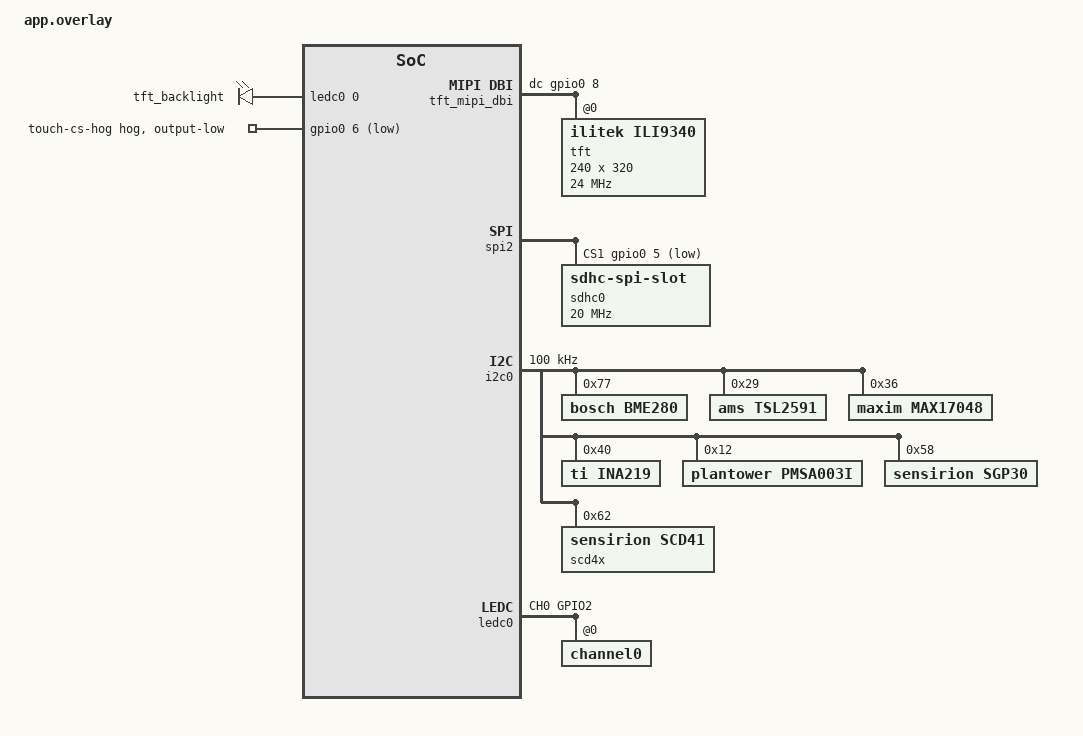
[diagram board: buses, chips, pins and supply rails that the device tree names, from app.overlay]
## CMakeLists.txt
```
# SPDX-License-Identifier: MIT
cmake_minimum_required(VERSION 3.20.0)

# This repo ships its own board (boards/adafruit/feather_esp32c6). Zephyr only
# looks under directories on BOARD_ROOT, and it does not add the application
# dir automatically — so register it here, before find_package(Zephyr).
list(APPEND BOARD_ROOT ${CMAKE_CURRENT_SOURCE_DIR})

find_package(Zephyr REQUIRED HINTS $ENV{ZEPHYR_BASE})
project(sensor_box LANGUAGES C)

target_sources(app PRIVATE src/main.c src/ui.c src/backlight.c src/history.c src/baseline.c src/wifi.c src/timesync.c src/ltlog.c src/web.c src/light.c src/sdcard.c src/sdlog.c)

# The dashboard page, gzipped into a C array that src/web.c includes.
set(gen_dir ${ZEPHYR_BINARY_DIR}/include/generated/)
generate_inc_file_for_target(app web/index.html ${gen_dir}/index.html.gz.inc --gzip)
zephyr_linker_sources(SECTIONS web/sections-rom.ld)
```

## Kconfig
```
# Application Kconfig for sensor-box. Zephyr picks up "Kconfig" from the
# application directory automatically; it must source Kconfig.zephyr.

mainmenu "sensor-box"

config SENSOR_BOX_ALTITUDE_M
	int "Altitude of the box above sea level, in metres"
	default 0
	help
	  Used to convert the BME280's absolute (station) pressure to the
	  sea-level pressure that weather reports use. At 0, the two are the
	  same. Near sea level, each 10 m adds roughly 1.2 hPa.

config SENSOR_BOX_US_UNITS
	bool "Show US units on the display"
	help
	  Show temperature in degrees F and pressure in inches of mercury on
	  the TFT. Readings are kept, and logged, in metric either way.

config SENSOR_BOX_NTP_SERVER
	string "SNTP server"
	default "pool.ntp.org"
	help
	  Time server queried once the network is up, then every 6 hours.
	  An address with an optional :port, or a DNS name.

config SENSOR_BOX_UTC_OFFSET_MIN
	int "Local standard time offset from UTC, in minutes"
	default 0
	range -720 840
	help
	  For the on-screen clock. Pacific Standard Time is -480.

config SENSOR_BOX_US_DST
	bool "Apply US daylight saving time to the on-screen clock"
	help
	  Add an hour from 2:00 on the second Sunday in March until 2:00 on
	  the first Sunday in November (local time), as in most of the US.

source "Kconfig.zephyr"
```

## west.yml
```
# West manifest for the sensor-box application (T3 "freestanding app" layout).
#
# This repo is the manifest repo. `west update` pulls Zephyr — and, via
# import, the modules on the allowlist below — as sibling directories outside
# this repo. Bump `revision` deliberately to move to a new Zephyr release;
# module versions follow from Zephyr's own manifest.
#
#   west init -l .
#   west update
#
manifest:
  version: "1.2"

  remotes:
    - name: upstream
      url-base: https://github.com/zephyrproject-rtos

  projects:
    - name: zephyr
      remote: upstream
      revision: v4.4.0
      # Pull in only the Zephyr modules this app needs. (Anything else in
      # Zephyr's manifest, e.g. mcuboot, is not fetched.)
      import:
        name-allowlist:
          - fatfs                 # FAT filesystem for the microSD card
          - hal_espressif         # ESP32-C6 SoC HAL + Wi-Fi blobs
          - lvgl                  # TFT UI
          - mbedtls               # crypto for Wi-Fi (WPA2), selected by the ESP32 Wi-Fi driver
          - picolibc              # C library
          - tf-psa-crypto         # PSA crypto core used by mbedtls

  self:
    path: sensor-box
```

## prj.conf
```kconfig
# Application Kconfig — merged on top of the board's *_defconfig.

# Logging subsystem (LOG_INF / LOG_WRN / LOG_ERR), routed to the console.
CONFIG_LOG=y
# Only warnings and errors are shown by default. Info messages are still
# built in: turn them on from the shell, e.g. "log enable inf wifi" (one
# module) or "log enable inf" (all); "log status" lists modules and levels.
CONFIG_SHELL_BACKEND_SERIAL_LOG_LEVEL_WRN=y
CONFIG_LOG_RUNTIME_DEFAULT_LEVEL=2
CONFIG_LOG_CMDS=y

# Print floating-point values with %f (sensor readings later).
CONFIG_CBPRINTF_FP_SUPPORT=y

# Main thread stack — sensors plus building the LVGL screen.
CONFIG_MAIN_STACK_SIZE=6144

# I2C bus + sensor subsystem + drivers.
CONFIG_I2C=y
CONFIG_SENSOR=y
CONFIG_BME280=y
CONFIG_TSL2591=y

# Out-of-tree drivers (drivers/sensor/*).
CONFIG_PMSA003I=y
CONFIG_SGP30=y

# Fuel-gauge subsystem + the on-board MAX17048.
CONFIG_FUEL_GAUGE=y
CONFIG_MAX17048=y
# INA219 (battery current) is enabled by its devicetree node.

# Fixed regulator driver — powers the STEMMA QT / I2C switch (IO20).
CONFIG_REGULATOR=y
CONFIG_REGULATOR_FIXED=y

# Interactive shell on the console, with I2C and sensor subcommands.
CONFIG_SHELL=y
CONFIG_I2C_SHELL=y
CONFIG_SENSOR_SHELL=y
# "kernel reboot cold" on the shell.
CONFIG_REBOOT=y

# Display: ILI9341 on SPI via the MIPI-DBI layer (see app.overlay).
CONFIG_SPI=y
CONFIG_DISPLAY=y

# Backlight PWM (LEDC), hand-wired LITE -> A5 / IO2.
CONFIG_PWM=y

# Boot button (gpio-keys, IO9) pages through the chart screens.
CONFIG_INPUT=y
# The button handler updates a chart page (LVGL + float formatting) on the
# input thread: ~1.3 KB measured, over the 1 KB default.
CONFIG_INPUT_THREAD_STACK_SIZE=4096

# LVGL, run on its own workqueue so the 1 Hz sensor loop never stalls the UI.
# Calls into LVGL from other threads must hold lvgl_lock().
CONFIG_LVGL=y
CONFIG_LV_Z_RUN_LVGL_ON_WORKQUEUE=y
# Rendering the trend charts needs ~5.4 KB, overflowing the 4 KB default
# (which silently corrupted the neighbouring input thread's stack).
CONFIG_LV_Z_LVGL_WORKQUEUE_STACK_SIZE=8192
CONFIG_LV_COLOR_DEPTH_24=y
CONFIG_LV_Z_MEM_POOL_SIZE=49152
CONFIG_LV_FONT_MONTSERRAT_12=y
CONFIG_LV_FONT_MONTSERRAT_14=y
CONFIG_LV_FONT_MONTSERRAT_28=y

# Settings in the flash "storage" partition (NVS): the SGP30 baseline.
CONFIG_FLASH=y
CONFIG_FLASH_MAP=y
CONFIG_NVS=y
CONFIG_SETTINGS=y
CONFIG_SETTINGS_NVS=y

# microSD card in the FeatherWing's slot (src/sdcard.c), FAT formatted.
# Never format a card automatically when it won't mount (Zephyr's default
# would): only "sdcard format yes" from the console does.
CONFIG_DISK_ACCESS=y
CONFIG_FILE_SYSTEM=y
CONFIG_FAT_FILESYSTEM_ELM=y
CONFIG_FILE_SYSTEM_MKFS=y
CONFIG_FS_FATFS_MOUNT_MKFS=n
# Bring the card up before the display's first SPI traffic (display init
# is at 85): a card that sees other traffic on the bus before its first
# reset can end up in SD (not SPI) mode until it loses power. See
# sdcard_early_init() in src/sdcard.c.
CONFIG_SDHC_INIT_PRIORITY=81
CONFIG_SD_INIT_PRIORITY=82
# "fs ls /SD:" etc. on the console.
CONFIG_FILE_SYSTEM_SHELL=y

# Long-term hourly history: a flash circular buffer in the "history"
# partition (app.overlay); see src/ltlog.c.
CONFIG_FCB=y

# Wi-Fi station with DHCP. Credentials are stored on the device (settings),
# added from the console with "wifi cred add"; see src/wifi.c.
CONFIG_NETWORKING=y
CONFIG_WIFI=y
CONFIG_NET_IPV4=y
# IPv6 (link-local, plus SLAAC if the router offers it) mostly so mDNS can
# answer AAAA queries: without it the responder ignores them, and macOS waits
# 5 s for an answer on every lookup of sensor-box.local. The HTTP server then
# listens on IPv6 and takes IPv4 connections as v4-mapped addresses.
CONFIG_NET_IPV6=y
CONFIG_NET_IPV4_MAPPING_TO_IPV6=y
CONFIG_NET_DHCPV4=y
CONFIG_NET_TCP=y
CONFIG_NET_MGMT=y
CONFIG_NET_MGMT_EVENT=y
CONFIG_NET_MGMT_EVENT_INFO=y
CONFIG_WIFI_CREDENTIALS=y
CONFIG_NET_L2_WIFI_SHELL=y
CONFIG_NET_SHELL=y

# Wall-clock time from SNTP (UTC), using DHCP's DNS server; "date get" on
# the shell shows it. See src/timesync.c.
CONFIG_NET_SOCKETS=y
CONFIG_DNS_RESOLVER=y
CONFIG_SNTP=y
CONFIG_DATE_SHELL=y

# LAN web dashboard on port 80 (src/web.c), reachable as sensor-box.local.
CONFIG_HTTP_SERVER=y
CONFIG_HTTP_SERVER_STACK_SIZE=4096
CONFIG_HTTP_SERVER_MAX_CLIENTS=4
CONFIG_NET_MAX_CONTEXTS=12
CONFIG_NET_MAX_CONN=10
CONFIG_ZVFS_OPEN_MAX=16
CONFIG_ZVFS_POLL_MAX=12
# The socket service (DNS/mDNS) already takes the default single eventfd;
# the HTTP server needs its own (it failed with eventfd -ENOMEM).
CONFIG_ZVFS_EVENTFD_MAX=4
# The socket service thread (DNS, mDNS) measured 85% of its 1.4 KB default.
CONFIG_NET_SOCKETS_SERVICE_STACK_SIZE=2048
CONFIG_MDNS_RESPONDER=y
CONFIG_NET_HOSTNAME_ENABLE=y
CONFIG_NET_HOSTNAME="sensor-box"
# Wi-Fi and credential shell commands need more than the 2 KB default; the
# system workqueue runs the stored-network connect.
CONFIG_SHELL_STACK_SIZE=4096
CONFIG_SYSTEM_WORKQUEUE_STACK_SIZE=3072
# ISR stack doubled to 4 KB as margin. With the dashboard build it measured
# ~1 KB; some earlier Wi-Fi builds read ~100% at any size (2, 4 and 8 KB),
# apparently because start-up overwrote the region, not real use.
CONFIG_ISR_STACK_SIZE=4096
# With two access points for the same network, join the strongest rather
# than the first one found.
CONFIG_ESP32_WIFI_STA_SCAN_ALL=y

# On-screen clock: US Pacific (UTC-8, with US daylight saving time).
CONFIG_SENSOR_BOX_UTC_OFFSET_MIN=-480
CONFIG_SENSOR_BOX_US_DST=y

# Altitude for sea-level pressure (house is ~100-110 m).
CONFIG_SENSOR_BOX_ALTITUDE_M=100

# Display temperature in F and pressure in inHg (log stays metric).
CONFIG_SENSOR_BOX_US_UNITS=y
```

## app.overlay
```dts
/*
 * Application devicetree overlay — devices on the STEMMA QT / Feather I2C bus.
 *
 * Zephyr picks up "app.overlay" from the application directory automatically
 * and merges it on top of the board devicetree. The board already sets i2c0
 * to "okay" with its pinctrl; here we just declare what's plugged into it.
 */

#include <zephyr/dt-bindings/i2c/i2c.h>
#include <zephyr/dt-bindings/gpio/gpio.h>
#include <zephyr/dt-bindings/display/panel.h>
#include <zephyr/dt-bindings/pwm/pwm.h>
#include <zephyr/dt-bindings/pinctrl/esp32c6-pinctrl.h>

/ {
	chosen {
		zephyr,display = &tft;
	};

	/*
	 * Adafruit 2.4" TFT FeatherWing: ILI9341 on SPI, with a GPIO
	 * data/command line. Wiring is documented in the board DTS.
	 */
	tft_mipi_dbi: tft-mipi-dbi {
		compatible = "zephyr,mipi-dbi-spi";
		spi-dev = <&spi2>;
		dc-gpios = <&gpio0 8 GPIO_ACTIVE_HIGH>;	/* D10 */
		write-only;
		#address-cells = <1>;
		#size-cells = <0>;

		/*
		 * The panel is an ILI9341, but driven as an ILI9340 (same
		 * controller family). The ili9340 orientation table matches
		 * Adafruit's library and Zephyr's in-tree Adafruit TFT shield;
		 * the ili9341 one sets MADCTL differently (e.g. MV|MY at 90).
		 * 270 = MADCTL MV|MX|MY, which is the right way up with the
		 * FeatherWing as mounted in the box.
		 */
		tft: ili9340@0 {
			compatible = "ilitek,ili9340";
			reg = <0>;
			mipi-max-frequency = <24000000>;
			/*
			 * Native (portrait) panel size. The driver swaps these
			 * itself for 90/270, giving a 320x240 landscape screen.
			 */
			width = <240>;
			height = <320>;
			rotation = <270>;
			/*
			 * RGB888 rather than RGB565: LVGL 9 renders RGB565
			 * little-endian and nothing in the Zephyr display path
			 * byte-swaps it for the panel, so 565 colours come out
			 * garbled. Same choice as Zephyr's Adafruit TFT shield.
			 */
			pixel-format = <PANEL_PIXEL_FORMAT_RGB_888>;
		};
	};
};

&spi2 {
	cs-gpios = <&gpio0 7 GPIO_ACTIVE_LOW>,	/* D9: TFT_CS (the display, CS 0) */
		   <&gpio0 5 GPIO_ACTIVE_LOW>;	/* D5: SD_CS */

	/*
	 * The FeatherWing's microSD slot (src/sdcard.c). The SD driver locks
	 * the bus for each command, so it and the display take turns.
	 */
	sdhc0: sdhc@1 {
		compatible = "zephyr,sdhc-spi-slot";
		reg = <1>;
		status = "okay";
		spi-max-frequency = <20000000>;

		mmc {
			compatible = "zephyr,sdmmc-disk";
			disk-name = "SD";
			status = "okay";
		};
	};
};

&gpio0 {
	/*
	 * The FeatherWing's STMPE610 touch controller shares the SPI bus but
	 * is unused. Hold its chip-select inactive (high) so it never drives
	 * MISO.
	 */
	touch-cs-hog {
		gpio-hog;
		gpios = <6 GPIO_ACTIVE_LOW>;	/* D6: TOUCH_CS */
		output-low;
	};
};

&i2c0 {
	/*
	 * Drop from the board default (Fast, 400 kHz) to Standard (100 kHz).
	 * Four devices daisy-chained on STEMMA QT cables add enough bus
	 * capacitance to cause intermittent -EFAULT at 400 kHz.
	 */
	clock-frequency = <I2C_BITRATE_STANDARD>;

	/* Adafruit BME280 breakout, default (secondary) address. */
	bme280: bme280@77 {
		compatible = "bosch,bme280";
		reg = <0x77>;
	};

	/* Adafruit TSL2591 high-dynamic-range light sensor. */
	tsl2591: tsl2591@29 {
		compatible = "ams,tsl2591";
		reg = <0x29>;
	};

	/* On-board MAX17048 LiPo fuel gauge (fuel-gauge API, not sensor API). */
	max17048: max17048@36 {
		compatible = "maxim,max17048";
		reg = <0x36>;
	};

	/*
	 * Adafruit INA219 current sensor, inline in the battery lead (JST
	 * plugs both sides), so it measures the battery current: positive
	 * into the battery (charging), negative out of it. 0.1 ohm shunt;
	 * +-160 mV range = +-1.6 A, in 50 uA steps. The shunt reading averages
	 * 128 samples (68 ms) to smooth out Wi-Fi bursts.
	 */
	ina219: ina219@40 {
		compatible = "ti,ina219";
		reg = <0x40>;
		shunt-milliohm = <100>;
		lsb-microamp = <50>;
		brng = <0>;	/* 16 V bus range: it's a 1-cell LiPo */
		pg = <2>;	/* +-160 mV */
		sadc = <15>;	/* 12 bit, 128 samples */
	};

	/* Adafruit PMSA003I particulate matter sensor (out-of-tree driver). */
	pmsa003i: pmsa003i@12 {
		compatible = "plantower,pmsa003i";
		reg = <0x12>;
	};

	/* Adafruit SGP30 eCO2 / TVOC sensor (out-of-tree driver). */
	sgp30: sgp30@58 {
		compatible = "sensirion,sgp30";
		reg = <0x58>;
	};

	/*
	 * Adafruit SCD-43 true (NDIR photoacoustic) CO2 sensor. Zephyr's scd4x
	 * driver knows the SCD40 and SCD41; the SCD43 shares the SCD41's command
	 * set, so it's declared as one. Until it's plugged in, its driver fails
	 * to initialise at boot (one error in the log) and the CO2 tile says
	 * "no sensor".
	 */
	scd4x: scd4x@62 {
		compatible = "sensirion,scd41";
		reg = <0x62>;
		mode = <0>;	/* periodic, a measurement every 5 s */
	};
};

/*
 * TFT backlight. The FeatherWing's LITE pad is not connected to any header
 * pin from the factory; in this box it is hand-wired to Feather A5 (IO2).
 * LITE high = backlight on, low = off, and it accepts PWM for dimming.
 * Driven by LEDC channel 0.
 */
&pinctrl {
	ledc0_backlight: ledc0_backlight {
		group1 {
			pinmux = <LEDC_CH0_GPIO2>;
			output-enable;
		};
	};
};

&ledc0 {
	pinctrl-0 = <&ledc0_backlight>;
	pinctrl-names = "default";
	status = "okay";
	#address-cells = <1>;
	#size-cells = <0>;

	channel0@0 {
		reg = <0x0>;
		timer = <0>;
	};
};

/ {
	backlight {
		compatible = "pwm-leds";

		/* 5 kHz: well above visible flicker. */
		tft_backlight: tft-backlight {
			pwms = <&ledc0 0 PWM_USEC(200) PWM_POLARITY_NORMAL>;
		};
	};
};

/*
 * Split the 192 KB "storage" partition: the settings store (NVS: SGP30
 * baseline, Wi-Fi credentials) keeps the first 64 KB, of which it uses the
 * first 32 KB, so its data is untouched; the hourly long-term history
 * (src/ltlog.c) gets the remaining 128 KB, about 4.3 months of records.
 * Flashing the firmware touches neither.
 */
&storage_partition {
	reg = <0x3b0000 DT_SIZE_K(64)>;
};

&flash0 {
	partitions {
		history_partition: partition@3c0000 {
			label = "history";
			reg = <0x3c0000 DT_SIZE_K(128)>;
		};
	};
};
```

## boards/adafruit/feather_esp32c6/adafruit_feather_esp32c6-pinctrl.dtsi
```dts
/*
 * Copyright (c) 2026 Tim Boldt
 *
 * SPDX-License-Identifier: Apache-2.0
 *
 * Pin assignments taken from the Adafruit ESP32-C6 Feather pinout:
 *   https://learn.adafruit.com/adafruit-esp32-c6-feather/pinouts
 *
 *   STEMMA QT / I2C : SDA = IO19, SCL = IO18
 *   SPI header      : SCK = IO21, MOSI = IO22, MISO = IO23
 *   UART header     : TX  = IO16, RX   = IO17
 *
 * The ESP32-C6 routes every peripheral through the GPIO matrix, so these
 * SIGxx_GPIOyy macros just pick which pad each signal lands on.
 */

#include <zephyr/dt-bindings/pinctrl/esp-pinctrl-common.h>
#include <zephyr/dt-bindings/pinctrl/esp32c6-pinctrl.h>
#include <zephyr/dt-bindings/pinctrl/esp32c6-gpio-sigmap.h>

&pinctrl {
	uart1_default: uart1_default {
		group1 {
			pinmux = <UART1_TX_GPIO16>;
			output-high;
		};
		group2 {
			pinmux = <UART1_RX_GPIO17>;
			bias-pull-up;
		};
	};

	i2c0_default: i2c0_default {
		group1 {
			pinmux = <I2C0_SDA_GPIO19>,
				 <I2C0_SCL_GPIO18>;
			bias-pull-up;
			drive-open-drain;
			output-high;
		};
	};

	/*
	 * Chip-select is not muxed here: the TFT FeatherWing and the microSD
	 * slot each need their own GPIO CS (and the TFT a DC line), so the SPI
	 * controller node uses cs-gpios instead of a hardware CS pad.
	 */
	spim2_default: spim2_default {
		group1 {
			pinmux = <SPIM2_MISO_GPIO23>,
				 <SPIM2_SCLK_GPIO21>;
		};
		group2 {
			pinmux = <SPIM2_MOSI_GPIO22>;
			output-low;
		};
	};
};
```

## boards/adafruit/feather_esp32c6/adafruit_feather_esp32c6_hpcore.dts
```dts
/*
 * Copyright (c) 2026 Tim Boldt
 *
 * SPDX-License-Identifier: Apache-2.0
 */

/dts-v1/;

#include <espressif/esp32c6/esp32c6_wroom_n4.dtsi>
#include "adafruit_feather_esp32c6-pinctrl.dtsi"
#include "feather_connector.dtsi"
#include <zephyr/dt-bindings/input/input-event-codes.h>
#include <espressif/partitions_0x0_default.dtsi>

/ {
	model = "Adafruit Feather ESP32-C6 HP Core";
	compatible = "adafruit,feather-esp32c6", "espressif,esp32c6";

	chosen {
		zephyr,sram = &sramhp;
		/* Native USB-Serial/JTAG carries the console (plain USB-C cable). */
		zephyr,console = &usb_serial;
		zephyr,shell-uart = &usb_serial;
		zephyr,flash = &flash0;
		zephyr,code-partition = &slot0_partition;
		zephyr,ieee802154 = &ieee802154;
	};

	aliases {
		sw0 = &boot_button;
		led0 = &red_led;
		i2c-0 = &i2c0;
		watchdog0 = &wdt0;
	};

	leds {
		compatible = "gpio-leds";

		red_led: led_0 {
			gpios = <&gpio0 15 GPIO_ACTIVE_HIGH>;
			label = "Red LED (IO15)";
		};
	};

	gpio_keys {
		compatible = "gpio-keys";

		boot_button: button_0 {
			gpios = <&gpio0 9 (GPIO_PULL_UP | GPIO_ACTIVE_LOW)>;
			label = "BOOT / User button (IO9)";
			zephyr,code = <INPUT_KEY_0>;
		};
	};

	/*
	 * IO20 must be driven high to power the STEMMA QT connector and the
	 * on-board 5k SDA/SCL pull-ups (it also powers the NeoPixel). A fixed
	 * regulator with regulator-boot-on turns it on during init, before the
	 * I2C sensor drivers probe.
	 */
	i2c_pwr: regulator-i2c-pwr {
		compatible = "regulator-fixed";
		regulator-name = "i2c_pwr";
		enable-gpios = <&gpio0 20 GPIO_ACTIVE_HIGH>;
		regulator-boot-on;
		regulator-always-on;
	};
};

&usb_serial {
	status = "okay";
};

/* Feather header UART (TX=IO16 / RX=IO17). Not the console. */
&uart1 {
	status = "okay";
	current-speed = <115200>;
	pinctrl-0 = <&uart1_default>;
	pinctrl-names = "default";
};

&i2c0 {
	status = "okay";
	clock-frequency = <I2C_BITRATE_FAST>;
	pinctrl-0 = <&i2c0_default>;
	pinctrl-names = "default";
};

&spi2 {
	#address-cells = <1>;
	#size-cells = <0>;
	status = "okay";
	pinctrl-0 = <&spim2_default>;
	pinctrl-names = "default";
	/*
	 * The 2.4" TFT FeatherWing puts the ILI9341, the microSD slot and the
	 * STMPE610 touch controller on this bus with separate GPIO
	 * chip-selects. FeatherWing wiring (silkscreen -> ESP32-C6 GPIO):
	 *   TFT_CS   D9  -> IO7
	 *   TFT_DC   D10 -> IO8   (data/command, not a CS)
	 *   SD_CS    D5  -> IO5
	 *   TOUCH_CS D6  -> IO6
	 * Declare them in the application overlay, e.g.:
	 *   cs-gpios = <&gpio0 7 GPIO_ACTIVE_LOW>,   // TFT_CS
	 *              <&gpio0 5 GPIO_ACTIVE_LOW>,   // SD_CS
	 *              <&gpio0 6 GPIO_ACTIVE_LOW>;   // TOUCH_CS
	 * The SD card must be clocked at <= 400 kHz until its init handshake
	 * completes.
	 */
};

&gpio0 {
	status = "okay";
};

&trng0 {
	status = "okay";
};

&wdt0 {
	status = "okay";
};

&wifi {
	status = "okay";
};

&ieee802154 {
	status = "okay";
};

&esp32_bt_hci {
	status = "okay";
};
```

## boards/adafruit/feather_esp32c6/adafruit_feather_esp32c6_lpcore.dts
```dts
/*
 * Copyright (c) 2026 Tim Boldt
 *
 * SPDX-License-Identifier: Apache-2.0
 */

/dts-v1/;

#include <espressif/esp32c6/esp32c6_lpcore_wroom_n4.dtsi>
#include <espressif/partitions_0x0_default.dtsi>

/ {
	model = "Adafruit Feather ESP32-C6 LP Core";
	compatible = "adafruit,feather-esp32c6", "espressif,esp32c6";

	chosen {
		zephyr,sram = &ulp_ram;
		zephyr,code-partition = &slot0_lpcore_partition;
	};
};
```

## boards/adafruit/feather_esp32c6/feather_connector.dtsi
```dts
/*
 * Copyright (c) 2026 Tim Boldt
 *
 * SPDX-License-Identifier: Apache-2.0
 *
 * Adafruit Feather header nexus for the ESP32-C6 Feather.
 *
 * Pin map from Adafruit's CircuitPython board definition
 * (ports/espressif/boards/adafruit_feather_esp32c6_4mbflash_nopsram/pins.c),
 * cross-checked against https://learn.adafruit.com/adafruit-esp32-c6-feather/pinouts
 * and, for D5/D6/D9/D10, against the working TFT FeatherWing:
 *   A0 = IO1   A1 = IO4   A2 = IO6   A3 = IO5   A4 = IO3   A5 = IO2
 *   D5 = IO5   D6 = IO6   (shared with A3 / A2)
 *   D9 = IO7   D10 = IO8  D11 = IO0  D12 = IO14  D13 = IO15 (red LED)
 *   SCK = IO21  MOSI = IO22  MISO = IO23
 *   RX  = IO17  TX   = IO16
 *   SDA = IO19  SCL  = IO18
 *   IO9 is the Boot button + on-board NeoPixel (and a strapping pin).
 *   D4 is not broken out on this Feather.
 */

/ {
	feather_header: connector {
		compatible = "adafruit-feather-header";
		#gpio-cells = <2>;
		gpio-map-mask = <0xffffffff 0xffffffc0>;
		gpio-map-pass-thru = <0 0x3f>;
		gpio-map = <
			0 0 &gpio0 1 0		/* A0  */
			1 0 &gpio0 4 0		/* A1  */
			2 0 &gpio0 6 0		/* A2  */
			3 0 &gpio0 5 0		/* A3  */
			4 0 &gpio0 3 0		/* A4  */
			5 0 &gpio0 2 0		/* A5  */
			6 0 &gpio0 21 0		/* SCK  */
			7 0 &gpio0 22 0		/* MOSI */
			8 0 &gpio0 23 0		/* MISO */
			9 0 &gpio0 17 0		/* RX   */
			10 0 &gpio0 16 0	/* TX   */
			/* 11  D4: not broken out */
			12 0 &gpio0 19 0	/* SDA  */
			13 0 &gpio0 18 0	/* SCL  */
			14 0 &gpio0 5 0		/* D5  */
			15 0 &gpio0 6 0		/* D6  */
			16 0 &gpio0 7 0		/* D9  */
			17 0 &gpio0 8 0		/* D10 */
			18 0 &gpio0 0 0		/* D11 */
			19 0 &gpio0 14 0	/* D12 */
			20 0 &gpio0 15 0	/* D13 (red LED) */
		>;
	};
};

feather_serial: &uart1 {};

feather_i2c: &i2c0 {};

feather_spi: &spi2 {};
```

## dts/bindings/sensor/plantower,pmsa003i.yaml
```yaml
# Copyright (c) 2026 Tim Boldt
# SPDX-License-Identifier: MIT

description: |
  Plantower PMSA003I laser particulate matter sensor (I2C interface).

  Reports PM1.0 / PM2.5 / PM10 mass concentration in ug/m^3 (both the
  CF=1 "standard particle" calibration and the atmospheric-environment
  calibration) plus particle counts per 0.1 L for six size bins.

compatible: "plantower,pmsa003i"

include: [sensor-device.yaml, i2c-device.yaml]
```

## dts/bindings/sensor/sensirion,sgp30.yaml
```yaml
# Copyright (c) 2026 Tim Boldt
# SPDX-License-Identifier: MIT

description: |
  Sensirion SGP30 indoor air quality sensor (eCO2 / TVOC).

  The driver drives the sensor at the datasheet-mandated 1 Hz cadence on
  its own and caches the latest reading; sensor_sample_fetch() is a no-op
  and sensor_channel_get() returns the cached eCO2 (SENSOR_CHAN_CO2, ppm)
  and TVOC (SENSOR_CHAN_VOC, ppb). Values are fixed at 400 ppm / 0 ppb for
  the first ~15 s after power-up while the sensor warms up.

compatible: "sensirion,sgp30"

include: [sensor-device.yaml, i2c-device.yaml]
```

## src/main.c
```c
/*
 * sensor-box firmware (Zephyr) — environmental monitor for the
 * Adafruit ESP32-C6 Feather.
 *
 * SPDX-License-Identifier: MIT
 *
 * Reads every sensor on the box each REPORT_EVERY_TICKS:
 *   - BME280   temp / humidity / pressure   (sensor API)
 *   - TSL2591  ambient light / IR           (sensor API)
 *   - PMSA003I PM1.0 / 2.5 / 10, >0.3 um count (sensor API, out-of-tree)
 *   - SGP30    TVOC (and eCO2, logged only) (sensor API, out-of-tree)
 *   - SCD-43   true CO2                     (sensor API, Zephyr's scd4x)
 *   - MAX17048 battery voltage / charge     (fuel-gauge API)
 *   - INA219   battery current              (sensor API)
 * and shows them on the TFT (ui.c), switching its backlight off when the room
 * is dark (backlight.c). The red LED is kept off. The Boot
 * button pages through full-screen charts, and wakes the screen in a dark
 * room. A missing device is logged and skipped, never fatal. The BME280
 * temp/RH is fed to the SGP30 as absolute humidity for its on-chip
 * compensation, and its IAQ baseline is saved to flash (baseline.c); the
 * BME280 pressure is fed to the SCD-43 likewise. Wi-Fi
 * connects to the network stored on the device (wifi.c), and the clock is
 * set from SNTP once it does (timesync.c). Hourly averages go to
 * a long-term log in flash (ltlog.c), and a LAN web dashboard serves it all
 * (web.c, web/index.html).
 */

#include <math.h>

#include <zephyr/kernel.h>
#include <zephyr/device.h>
#include <zephyr/drivers/gpio.h>
#include <zephyr/drivers/sensor.h>
#include <zephyr/drivers/fuel_gauge.h>
#include <zephyr/input/input.h>
#include <zephyr/logging/log.h>

#include <zephyr/drivers/sensor/scd4x.h>

#include <sensor_box/sgp30.h>

#include "backlight.h"
#include "baseline.h"
#include "history.h"
#include "light.h"
#include "ltlog.h"
#include "readings.h"
#include "sdcard.h"
#include "sdlog.h"
#include "timesync.h"
#include "ui.h"
#include "web.h"
#include "wifi.h"

LOG_MODULE_REGISTER(sensor_box, LOG_LEVEL_INF);

/* How many 1 Hz ticks between full readings / report lines. */
#define REPORT_EVERY_TICKS 5U

/* led0 -> &red_led (gpio0 15, active high): held off; no heartbeat blink. */
static const struct gpio_dt_spec led = GPIO_DT_SPEC_GET(DT_ALIAS(led0), gpios);

/* I2C devices from app.overlay; *_OR_NULL keeps the build fine if removed. */
static const struct device *const bme280 = DEVICE_DT_GET_OR_NULL(DT_NODELABEL(bme280));
static const struct device *const max17048 = DEVICE_DT_GET_OR_NULL(DT_NODELABEL(max17048));
static const struct device *const ina219 = DEVICE_DT_GET_OR_NULL(DT_NODELABEL(ina219));
static const struct device *const pmsa003i = DEVICE_DT_GET_OR_NULL(DT_NODELABEL(pmsa003i));
static const struct device *const sgp30 = DEVICE_DT_GET_OR_NULL(DT_NODELABEL(sgp30));
static const struct device *const scd4x = DEVICE_DT_GET_OR_NULL(DT_NODELABEL(scd4x));

/*
 * Absolute humidity in g/m^3 from temperature (degC) and relative humidity (%),
 * via the Magnus approximation of saturation vapour pressure.
 */
static double abs_humidity_g_m3(double t_c, double rh_pct)
{
	double sat_hpa = 6.112 * exp((17.62 * t_c) / (243.12 + t_c));
	double vp_hpa = (rh_pct / 100.0) * sat_hpa;

	return 216.7 * vp_hpa / (273.15 + t_c);
}

/*
 * Station pressure -> sea-level pressure (hPa), for an altitude in metres and
 * the current temperature in degC. Hypsometric formula with the standard
 * lapse rate, as used for weather-report (QNH-style) pressure.
 */
static double sea_level_hpa(double station_hpa, double alt_m, double t_c)
{
	double lapse = 0.0065 * alt_m;

	return station_hpa * pow(1.0 - lapse / (t_c + lapse + 273.15), -5.257);
}

/* Push absolute humidity (g/m^3) to the SGP30 for on-chip compensation. */
static void feed_sgp30_humidity(double ah_g_m3)
{
	if (sgp30 == NULL || !device_is_ready(sgp30)) {
		return;
	}

	struct sensor_value ah;

	sensor_value_from_double(&ah, ah_g_m3);
	sensor_attr_set(sgp30, SENSOR_CHAN_ALL,
			(enum sensor_attribute)SENSOR_ATTR_SGP30_ABS_HUMIDITY, &ah);
}

/*
 * Push station pressure to the SCD-4x: its CO2 reading depends on air
 * density (about 1.4 % per 10 hPa). Only sent when the whole-hPa value
 * changes.
 */
static void feed_scd4x_pressure(double press_hpa)
{
	static int32_t sent;

	if (scd4x == NULL || !device_is_ready(scd4x)) {
		return;
	}

	int32_t hpa = (int32_t)lround(press_hpa);

	if (hpa == sent || hpa < 700 || hpa > 1200) {
		return;
	}

	struct sensor_value v = { .val1 = hpa };

	if (sensor_attr_set(scd4x, SENSOR_CHAN_ALL,
			    (enum sensor_attribute)SENSOR_ATTR_SCD4X_AMBIENT_PRESSURE, &v) == 0) {
		sent = hpa;
	}
}

/*
 * Turn the SCD-4x's automatic self-calibration (ASC) off. ASC assumes the
 * lowest reading of each period (~weekly) is fresh outdoor air at ~400 ppm,
 * which a closed room may never see, so it would drag readings down; the
 * factory calibration checked out outdoors. The setting is not persisted
 * (no EEPROM write each boot), so it's sent again at every boot.
 */
static void scd4x_disable_asc(void)
{
	if (scd4x == NULL || !device_is_ready(scd4x)) {
		return;
	}

	struct sensor_value off = { .val1 = 0 };

	if (sensor_attr_set(scd4x, SENSOR_CHAN_ALL,
			    (enum sensor_attribute)SENSOR_ATTR_SCD4X_AUTOMATIC_CALIB_ENABLE,
			    &off) == 0) {
		LOG_INF("scd4x: automatic self-calibration off");
	} else {
		LOG_WRN("scd4x: failed to turn automatic self-calibration off");
	}
}

static void report_bme280(struct readings *r)
{
	if (bme280 == NULL || !device_is_ready(bme280)) {
		LOG_WRN("bme280: not ready, skipping");
		return;
	}

	if (sensor_sample_fetch(bme280) != 0) {
		LOG_WRN("bme280: sample fetch failed");
		return;
	}

	struct sensor_value temp, press, humidity;

	sensor_channel_get(bme280, SENSOR_CHAN_AMBIENT_TEMP, &temp);
	sensor_channel_get(bme280, SENSOR_CHAN_PRESS, &press);
	sensor_channel_get(bme280, SENSOR_CHAN_HUMIDITY, &humidity);

	/* Zephyr reports temp in degC, pressure in kPa, humidity in %RH. */
	double temp_c = sensor_value_to_double(&temp);
	double rh_pct = sensor_value_to_double(&humidity);

	double press_hpa = sensor_value_to_double(&press) * 10.0;
	double press_sl_hpa = sea_level_hpa(press_hpa, CONFIG_SENSOR_BOX_ALTITUDE_M, temp_c);
	double ah_g_m3 = abs_humidity_g_m3(temp_c, rh_pct);

	LOG_INF("bme280:  %.2f C  %.2f %%RH  %.2f hPa (%.2f hPa MSL)  (AH %.2f g/m3)",
		temp_c, rh_pct, press_hpa, press_sl_hpa, ah_g_m3);

	r->climate_ok = true;
	r->temp_c = temp_c;
	r->rh_pct = rh_pct;
	r->ah_g_m3 = ah_g_m3;
	r->press_hpa = press_hpa;
	r->press_sl_hpa = press_sl_hpa;

	feed_sgp30_humidity(ah_g_m3);
	feed_scd4x_pressure(press_hpa);
}

/*
 * The light sensor is read every tick (second), not just every report, so
 * the backlight follows the room quickly. Auto-gain and the lux formula live
 * in light.c.
 */
static bool light_ok;
static double light_lux;

static void poll_light(void)
{
	light_ok = light_read(&light_lux);
	backlight_set_ambient(light_ok, light_lux);
}

static void report_tsl2591(struct readings *r)
{
	if (!light_ok) {
		LOG_INF("tsl2591: no reading (settling or unavailable)");
		return;
	}

	LOG_INF("tsl2591: %.4g lux (%.1f dB, gain %s)", light_lux, light_db(light_lux),
		light_gain_name());
	r->light_ok = true;
	r->lux = light_lux;
}

static void report_max17048(struct readings *r)
{
	if (max17048 == NULL || !device_is_ready(max17048)) {
		LOG_WRN("max17048: not ready, skipping");
		return;
	}

	union fuel_gauge_prop_val v_uv, soc_pct;

	if (fuel_gauge_get_prop(max17048, FUEL_GAUGE_VOLTAGE, &v_uv) != 0 ||
	    fuel_gauge_get_prop(max17048, FUEL_GAUGE_RELATIVE_STATE_OF_CHARGE,
				&soc_pct) != 0) {
		LOG_WRN("max17048: read failed");
		return;
	}

	/* voltage is microvolts; relative_state_of_charge is whole percent. */
	LOG_INF("battery: %.3f V  %u%%",
		(double)v_uv.voltage / 1e6, soc_pct.relative_state_of_charge);

	r->batt_ok = true;
	r->batt_v = (double)v_uv.voltage / 1e6;
	r->batt_pct = soc_pct.relative_state_of_charge;
}

static void report_ina219(struct readings *r)
{
	if (ina219 == NULL || !device_is_ready(ina219)) {
		return;		/* optional: not every box has one */
	}

	/* Blocks for one triggered, averaged conversion (~70 ms). */
	if (sensor_sample_fetch_chan(ina219, SENSOR_CHAN_CURRENT) != 0) {
		LOG_WRN("ina219: sample fetch failed");
		return;
	}

	struct sensor_value amps;

	sensor_channel_get(ina219, SENSOR_CHAN_CURRENT, &amps);
	r->batt_i_ok = true;
	r->batt_ma = sensor_value_to_double(&amps) * 1000.0;
	LOG_INF("ina219:  %+.1f mA (%s)", r->batt_ma,
		r->batt_ma > 0.0 ? "charging" : "from battery");
}

static void report_pmsa003i(struct readings *r)
{
	if (pmsa003i == NULL || !device_is_ready(pmsa003i)) {
		LOG_WRN("pmsa003i: not ready, skipping");
		return;
	}

	int ret = sensor_sample_fetch(pmsa003i);

	if (ret == -EAGAIN) {
		LOG_INF("pmsa003i: warming up");
		r->pm_warming = true;
		return;
	}
	if (ret != 0) {
		LOG_WRN("pmsa003i: sample fetch failed: %d", ret);
		return;
	}

	struct sensor_value pm1, pm25, pm10, pc03;

	sensor_channel_get(pmsa003i, SENSOR_CHAN_PM_1_0, &pm1);
	sensor_channel_get(pmsa003i, SENSOR_CHAN_PM_2_5, &pm25);
	sensor_channel_get(pmsa003i, SENSOR_CHAN_PM_10, &pm10);
	/* Counted per 0.1 L. */
	sensor_channel_get(pmsa003i, SENSOR_CHAN_PM_0_3_COUNT, &pc03);

	LOG_INF("pmsa003i: PM1.0 %d  PM2.5 %d  PM10 %d  ug/m3  >0.3um %d /L",
		pm1.val1, pm25.val1, pm10.val1, pc03.val1 * 10);

	r->pm_ok = true;
	r->pm1_0 = pm1.val1;
	r->pm2_5 = pm25.val1;
	r->pm10 = pm10.val1;
	r->pc03_per_l = pc03.val1 * 10;
}

static void report_sgp30(struct readings *r)
{
	if (sgp30 == NULL || !device_is_ready(sgp30)) {
		LOG_WRN("sgp30: not ready, skipping");
		return;
	}

	int ret = sensor_sample_fetch(sgp30);

	if (ret == -EAGAIN) {
		LOG_INF("sgp30: warming up");
		r->gas_warming = true;
		return;
	}
	if (ret != 0) {
		LOG_WRN("sgp30: sample fetch failed: %d", ret);
		return;
	}

	struct sensor_value eco2, tvoc;

	sensor_channel_get(sgp30, SENSOR_CHAN_CO2, &eco2);
	sensor_channel_get(sgp30, SENSOR_CHAN_VOC, &tvoc);

	LOG_INF("sgp30:   eCO2 %d ppm  TVOC %d ppb", eco2.val1, tvoc.val1);

	r->gas_ok = true;
	r->tvoc_ppb = tvoc.val1;
}

static void report_scd4x(struct readings *r)
{
	if (scd4x == NULL || !device_is_ready(scd4x)) {
		return;		/* not fitted: quietly, as it may well not be */
	}
	r->co2_present = true;

	/* Reads the newest measurement; without a new one it keeps the last. */
	if (sensor_sample_fetch(scd4x) != 0) {
		LOG_WRN("scd4x: sample fetch failed");
		return;
	}

	struct sensor_value co2;

	sensor_channel_get(scd4x, SENSOR_CHAN_CO2, &co2);
	if (co2.val1 == 0) {
		/* Nothing measured yet (the first takes 5 s). */
		LOG_INF("scd4x: warming up");
		r->co2_warming = true;
		return;
	}

	LOG_INF("scd4x:   CO2 %d ppm", co2.val1);
	r->co2_ok = true;
	r->co2_ppm = co2.val1;
}

/* Boot button (sw0, IO9): wakes the screen when it's dark. Runs on the input thread. */
static void on_input(struct input_event *evt, void *user_data)
{
	ARG_UNUSED(user_data);

	if (evt->type != INPUT_EV_KEY || evt->code != INPUT_KEY_0) {
		return;
	}
	LOG_INF("button: %s", evt->value ? "pressed" : "released");
	if (evt->value != 1) {
		return;
	}
	backlight_wake();
}

INPUT_CALLBACK_DEFINE(DEVICE_DT_GET(DT_PARENT(DT_ALIAS(sw0))), on_input, NULL);

int main(void)
{
	LOG_INF("sensor-box starting on %s", CONFIG_BOARD_TARGET);

	if (!gpio_is_ready_dt(&led) ||
	    gpio_pin_configure_dt(&led, GPIO_OUTPUT_INACTIVE) != 0) {
		LOG_ERR("LED GPIO not available");
	}

	/* A missing display is logged and skipped, like any other device. */
	bool have_ui = ui_init() == 0;

	scd4x_disable_asc();
	backlight_init();
	baseline_init();
	light_init();
	ltlog_init();
	sdcard_init();
	sdlog_init();
	timesync_init();
	wifi_init();
	web_init();

	uint32_t tick = 0;

	while (1) {
		poll_light();

		if (tick % REPORT_EVERY_TICKS == 0) {
			struct readings r = { 0 };

			LOG_INF("--- tick %u ---", tick);
			report_bme280(&r);
			report_tsl2591(&r);
			report_pmsa003i(&r);
			report_sgp30(&r);
			report_scd4x(&r);
			report_max17048(&r);
			report_ina219(&r);
			r.wifi_ok = wifi_is_connected();

			history_add(&r);
			ltlog_add(&r);
			sdlog_add(&r);
			web_update(&r);
			baseline_tick();

			if (have_ui) {
				ui_update(&r);
			}
		}

		tick++;
		k_sleep(K_SECONDS(1));
	}

	return 0;
}
```

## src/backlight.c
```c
/*
 * TFT backlight, driven from ambient light (TSL2591).
 *
 * SPDX-License-Identifier: MIT
 *
 * Brightness follows the room light:
 *
 *   lux < DARK_OFF_LUX           -> off
 *   DARK_ON_LUX .. FULL_LUX      -> MIN_PM rising to full, evenly per
 *                                   decade of lux (the eye's scale)
 *   lux >= FULL_LUX              -> full brightness
 *
 * Off and back on have different thresholds (hysteresis), so light hovering
 * around the cutoff does not make it flicker, and while on, the target only
 * moves when it changes by more than 1/RETARGET_FRACTION, so sensor noise
 * doesn't keep it fading. Every change fades over FADE_MS rather than
 * snapping.
 *
 * backlight_wake() (the Boot button) turns it on, at MIN_PM, for WAKE_MS even
 * in a dark room, so the readings can be checked at night without the room
 * lights.
 *
 * Callers are the sensor loop, the input thread and the shell; the fade and
 * wake-expiry run on the system workqueue. All state is under `lock`.
 */

#include <errno.h>
#include <math.h>
#include <stdlib.h>
#include <string.h>

#include <zephyr/device.h>
#include <zephyr/drivers/pwm.h>
#include <zephyr/kernel.h>
#include <zephyr/logging/log.h>
#include <zephyr/shell/shell.h>

#include "backlight.h"

LOG_MODULE_REGISTER(backlight, LOG_LEVEL_INF);

#define DARK_OFF_LUX 0.01
#define DARK_ON_LUX  0.02
#define FULL_LUX     15.0
#define MIN_PM       10		/* brightness at DARK_ON_LUX (1%) */
#define RETARGET_FRACTION 8	/* ignore changes under 1/8 (12.5%) */

#define FADE_MS      1500
#define FADE_STEP_MS 20
#define WAKE_MS      30000
/*
 * Missed readings in a row before giving up on the sensor and going to full
 * brightness. An odd miss is routine (e.g. the reading after the light
 * clipped). Readings come every second, so this is about 30 s.
 */
#define MISSES_BEFORE_FAIL 30

static const struct pwm_dt_spec pwm = PWM_DT_SPEC_GET(DT_NODELABEL(tft_backlight));

static K_MUTEX_DEFINE(lock);

/* Brightness in permille, for smooth fades. */
static int current_pm;
static int target_pm;
static int step_pm;

/* Inputs to the on/off decision. */
static bool dark;
static bool last_lux_ok;	/* false: no reading for MISSES_BEFORE_FAIL */
static int misses;		/* missed readings in a row */
static double last_lux;
static int manual_pm = -1;	/* from the shell: fixed permille, or -1 for auto */
static bool woken;		/* button pressed in the last WAKE_MS */

static void fade_step(struct k_work *work);
static K_WORK_DELAYABLE_DEFINE(fade_work, fade_step);

static void wake_expired(struct k_work *work);
static K_WORK_DELAYABLE_DEFINE(wake_work, wake_expired);

static void apply(int pm)
{
	uint32_t pulse = (uint32_t)(((uint64_t)pwm.period * pm) / 1000U);

	pwm_set_pulse_dt(&pwm, pulse);
}

static void fade_step(struct k_work *work)
{
	ARG_UNUSED(work);

	k_mutex_lock(&lock, K_FOREVER);

	if (current_pm < target_pm) {
		current_pm = MIN(current_pm + step_pm, target_pm);
	} else if (current_pm > target_pm) {
		current_pm = MAX(current_pm - step_pm, target_pm);
	}

	apply(current_pm);

	if (current_pm != target_pm) {
		k_work_reschedule(&fade_work, K_MSEC(FADE_STEP_MS));
	}

	k_mutex_unlock(&lock);
}

/*
 * Brightness (permille) for a lit room: MIN_PM at DARK_ON_LUX up to 1000 at
 * FULL_LUX, a constant ratio per decade of lux.
 */
static int lux_to_pm(double lux)
{
	if (lux >= FULL_LUX) {
		return 1000;
	}
	if (lux <= DARK_ON_LUX) {
		return MIN_PM;
	}

	double f = log(lux / DARK_ON_LUX) / log(FULL_LUX / DARK_ON_LUX);

	return (int)lround(MIN_PM * pow(1000.0 / MIN_PM, f));
}

/* Fade to whatever the current inputs call for. Call with `lock` held. */
static void reevaluate(void)
{
	int new_target;

	if (manual_pm >= 0) {
		new_target = manual_pm;
	} else if (!last_lux_ok) {
		/* No light reading: fail bright rather than dark. */
		new_target = 1000;
	} else if (dark) {
		new_target = woken ? MIN_PM : 0;
	} else {
		new_target = lux_to_pm(last_lux);
		/*
		 * Small changes while on are noise: hold the current level,
		 * except to reach either end of the scale exactly.
		 */
		if (target_pm > 0 && new_target != 1000 && new_target != MIN_PM &&
		    abs(new_target - target_pm) * RETARGET_FRACTION < target_pm) {
			new_target = target_pm;
		}
	}

	if (new_target == target_pm) {
		return;
	}

	/* Fade the whole distance in FADE_MS, whatever its size. */
	int steps = FADE_MS / FADE_STEP_MS;

	target_pm = new_target;
	step_pm = MAX(1, abs(target_pm - current_pm) / steps);
	k_work_reschedule(&fade_work, K_NO_WAIT);
}

static void wake_expired(struct k_work *work)
{
	ARG_UNUSED(work);

	k_mutex_lock(&lock, K_FOREVER);
	woken = false;
	reevaluate();
	k_mutex_unlock(&lock);
}

int backlight_init(void)
{
	if (!pwm_is_ready_dt(&pwm)) {
		LOG_ERR("backlight PWM not ready");
		return -ENODEV;
	}

	k_mutex_lock(&lock, K_FOREVER);
	current_pm = target_pm = 1000;
	last_lux_ok = false;
	apply(current_pm);
	k_mutex_unlock(&lock);
	return 0;
}

void backlight_set_ambient(bool lux_ok, double lux)
{
	if (!pwm_is_ready_dt(&pwm)) {
		return;
	}

	k_mutex_lock(&lock, K_FOREVER);

	if (!lux_ok) {
		/* Hold the last level through a brief gap; then fail bright. */
		if (++misses >= MISSES_BEFORE_FAIL) {
			last_lux_ok = false;
			dark = false;
		}
	} else {
		misses = 0;
		last_lux_ok = true;
		last_lux = lux;
		if (dark && lux >= DARK_ON_LUX) {
			dark = false;
			LOG_INF("room light (%.3g lux): backlight on", lux);
		} else if (!dark && lux < DARK_OFF_LUX) {
			dark = true;
			LOG_INF("room dark (%.3g lux): backlight off", lux);
		}
	}
	reevaluate();

	k_mutex_unlock(&lock);
}

bool backlight_wake(void)
{
	if (!pwm_is_ready_dt(&pwm)) {
		return false;
	}

	k_mutex_lock(&lock, K_FOREVER);

	bool was_off = target_pm == 0;

	woken = true;
	reevaluate();
	k_work_reschedule(&wake_work, K_MSEC(WAKE_MS));

	k_mutex_unlock(&lock);
	return was_off;
}

/* Shell: "backlight <0-100>" fixes the brightness, "backlight auto" resumes. */
static int cmd_backlight(const struct shell *sh, size_t argc, char **argv)
{
	if (argc < 2) {
		shell_print(sh, "%s, now %d%%, target %d%%",
			    manual_pm >= 0 ? "manual" : "auto", current_pm / 10, target_pm / 10);
		return 0;
	}

	int new_manual;

	if (strcmp(argv[1], "auto") == 0) {
		new_manual = -1;
	} else {
		long pct = strtol(argv[1], NULL, 10);

		if (pct < 0 || pct > 100) {
			shell_error(sh, "usage: backlight [0-100|auto]");
			return -EINVAL;
		}
		new_manual = (int)pct * 10;
	}

	k_mutex_lock(&lock, K_FOREVER);
	manual_pm = new_manual;
	reevaluate();
	k_mutex_unlock(&lock);
	return 0;
}

SHELL_CMD_ARG_REGISTER(backlight, NULL, "Show, set (0-100) or auto backlight", cmd_backlight, 1,
		       1);
```

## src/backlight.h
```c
/*
 * TFT backlight, driven from ambient light.
 *
 * SPDX-License-Identifier: MIT
 */

#ifndef SENSOR_BOX_BACKLIGHT_H_
#define SENSOR_BOX_BACKLIGHT_H_

#include <stdbool.h>

/* Set up the PWM and start at full brightness. Returns 0, or -ENODEV. */
int backlight_init(void);

/*
 * Feed the latest ambient light reading. The backlight dims with the room
 * light, from full brightness (15 lux and up) to 1%, and fades off when the
 * room is dark (below 0.01 lux). With lux_ok false (no reading), it holds
 * its level; after about 30 s without one (sensor missing or failed), it goes
 * to full brightness.
 */
void backlight_set_ambient(bool lux_ok, double lux);

/*
 * Turn the backlight on (dimly) for a while (30 s) even if the room is dark, e.g. on
 * a button press; each call restarts the timer. Returns true if the backlight
 * was off (or fading off), so the caller can treat the press as "wake only".
 */
bool backlight_wake(void);

#endif /* SENSOR_BOX_BACKLIGHT_H_ */
```

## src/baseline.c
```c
/*
 * Persist the SGP30's IAQ baseline across reboots (Zephyr settings / NVS).
 *
 * SPDX-License-Identifier: MIT
 *
 * Following Sensirion's guidance for the SGP30:
 *  - With no saved baseline, the sensor needs ~12 h of operation to learn
 *    one, so the first save waits FIRST_SAVE_FRESH.
 *  - After restoring a saved baseline, saves start after FIRST_SAVE_RESTORED.
 *  - From then on the baseline is saved every SAVE_PERIOD (only if changed,
 *    to spare the flash).
 *
 * Sensirion also says to discard a baseline more than MAX_AGE (7 days) old.
 * Each save records the UTC time (from SNTP), so the restore waits until the
 * clock is set (~15 s after boot), then restores the baseline only if it is
 * recent enough. If the clock isn't set within CLOCK_WAIT (no network), or
 * the baseline was saved without a known time, it is restored anyway. The
 * SGP30 accepts a baseline at any point after Init_air_quality.
 *
 * The baseline lives in the "storage" flash partition, which flashing the
 * firmware does not touch.
 */

#include <errno.h>
#include <stdlib.h>
#include <string.h>

#include <zephyr/device.h>
#include <zephyr/drivers/sensor.h>
#include <zephyr/kernel.h>
#include <zephyr/logging/log.h>
#include <zephyr/settings/settings.h>
#include <zephyr/shell/shell.h>

#include <sensor_box/sgp30.h>

#include "timesync.h"

#include "baseline.h"

LOG_MODULE_REGISTER(baseline, LOG_LEVEL_INF);

#define FIRST_SAVE_FRESH    K_HOURS(12)
#define FIRST_SAVE_RESTORED K_HOURS(1)
#define SAVE_PERIOD         K_HOURS(1)
#define MAX_AGE_S           (7 * 24 * 3600)
#define CLOCK_WAIT_MS       (120 * 1000)

#define SETTINGS_KEY "sgp30/baseline"

struct baseline {
	uint16_t eco2;
	uint16_t tvoc;
	uint32_t saved_at;	/* UTC seconds, 0 = unknown */
};

/* Saves from before saved_at existed: just the two words. */
#define LEGACY_SIZE 4

static const struct device *const sgp30 = DEVICE_DT_GET_OR_NULL(DT_NODELABEL(sgp30));

/* Only touched by the sensor-loop thread and the shell, both under `lock`. */
static K_MUTEX_DEFINE(lock);
static struct baseline saved;
static bool have_saved;
static bool restore_decided;
static int64_t next_save_ms;

static int settings_set(const char *key, size_t len, settings_read_cb read_cb, void *cb_arg)
{
	if (strcmp(key, "baseline") != 0) {
		return -ENOENT;
	}
	if (len != sizeof(saved) && len != LEGACY_SIZE) {
		return -EINVAL;
	}
	memset(&saved, 0, sizeof(saved));
	if (read_cb(cb_arg, &saved, len) != (ssize_t)len) {
		return -EIO;
	}
	have_saved = true;
	return 0;
}

SETTINGS_STATIC_HANDLER_DEFINE(sgp30, "sgp30", NULL, settings_set, NULL, NULL);

static bool sgp30_ready(void)
{
	return sgp30 != NULL && device_is_ready(sgp30);
}

static int read_current(struct baseline *b)
{
	struct sensor_value v;
	int ret = sensor_attr_get(sgp30, SENSOR_CHAN_ALL,
				  (enum sensor_attribute)SENSOR_ATTR_SGP30_BASELINE, &v);

	if (ret == 0) {
		b->eco2 = (uint16_t)v.val1;
		b->tvoc = (uint16_t)v.val2;
	}
	return ret;
}

/* Save the current baseline if it differs from the saved one. Under `lock`. */
static int save_now(void)
{
	struct baseline cur;
	int ret = read_current(&cur);

	if (ret != 0) {
		return ret;
	}
	if (have_saved && cur.eco2 == saved.eco2 && cur.tvoc == saved.tvoc) {
		return 0;
	}

	cur.saved_at = timesync_valid() ? (uint32_t)timesync_now() : 0;
	ret = settings_save_one(SETTINGS_KEY, &cur, sizeof(cur));
	if (ret == 0) {
		saved = cur;
		have_saved = true;
		LOG_INF("saved: eCO2 0x%04x TVOC 0x%04x", cur.eco2, cur.tvoc);
	}
	return ret;
}

void baseline_init(void)
{
	if (!sgp30_ready()) {
		return;
	}

	int ret = settings_subsys_init();

	if (ret == 0) {
		ret = settings_load_subtree("sgp30");
	}
	if (ret != 0) {
		LOG_ERR("settings unavailable (%d); baseline will not persist", ret);
	}

	k_mutex_lock(&lock, K_FOREVER);

	/* Fresh-start rule until (and unless) a saved baseline is restored. */
	next_save_ms = k_uptime_get() + k_ticks_to_ms_floor64(FIRST_SAVE_FRESH.ticks);
	if (have_saved) {
		LOG_INF("saved baseline found; restoring once the clock is set");
	} else {
		restore_decided = true;
		LOG_INF("no saved baseline; first save after 12 h of operation");
	}

	k_mutex_unlock(&lock);
}

/* Restore or discard the saved baseline, once its age can be judged. Under `lock`. */
static void decide_restore(void)
{
	bool clock = timesync_valid();

	if (!have_saved) {
		restore_decided = true;	/* cleared while waiting */
		return;
	}
	if (!clock && k_uptime_get() < CLOCK_WAIT_MS) {
		return;		/* keep waiting for SNTP */
	}
	restore_decided = true;

	if (clock && saved.saved_at != 0) {
		int64_t age = (int64_t)timesync_now() - saved.saved_at;

		if (age > MAX_AGE_S) {
			LOG_INF("saved baseline is %lld days old (limit 7); discarding",
				age / 86400);
			settings_delete(SETTINGS_KEY);
			have_saved = false;
			return;
		}
	} else {
		LOG_INF("restoring without an age check (%s)",
			clock ? "saved before the clock was known" : "clock not set");
	}

	struct sensor_value v = { .val1 = saved.eco2, .val2 = saved.tvoc };
	int ret = sensor_attr_set(sgp30, SENSOR_CHAN_ALL,
				  (enum sensor_attribute)SENSOR_ATTR_SGP30_BASELINE, &v);

	if (ret == 0) {
		LOG_INF("restoring saved: eCO2 0x%04x TVOC 0x%04x", saved.eco2, saved.tvoc);
		next_save_ms = k_uptime_get() + k_ticks_to_ms_floor64(FIRST_SAVE_RESTORED.ticks);
	} else {
		LOG_WRN("restore failed: %d", ret);
	}
}

void baseline_tick(void)
{
	if (!sgp30_ready()) {
		return;
	}

	k_mutex_lock(&lock, K_FOREVER);

	if (!restore_decided) {
		decide_restore();
	}
	if (restore_decided && k_uptime_get() >= next_save_ms) {
		int ret = save_now();

		if (ret != 0) {
			LOG_WRN("save failed: %d", ret);
		}
		next_save_ms += k_ticks_to_ms_floor64(SAVE_PERIOD.ticks);
	}

	k_mutex_unlock(&lock);
}

/* Shell: "sgp30 baseline [save|clear]". */
static int cmd_baseline(const struct shell *sh, size_t argc, char **argv)
{
	if (!sgp30_ready()) {
		shell_error(sh, "SGP30 not ready");
		return -ENODEV;
	}

	int ret = 0;

	k_mutex_lock(&lock, K_FOREVER);

	if (argc > 1 && strcmp(argv[1], "save") == 0) {
		ret = save_now();
		if (ret != 0) {
			shell_error(sh, "save failed: %d", ret);
		}
	} else if (argc > 1 && strcmp(argv[1], "clear") == 0) {
		ret = settings_delete(SETTINGS_KEY);
		if (ret == 0) {
			/* Back to the fresh-start rule: don't save an unlearned one. */
			have_saved = false;
			restore_decided = true;
			next_save_ms = k_uptime_get() +
				       k_ticks_to_ms_floor64(FIRST_SAVE_FRESH.ticks);
			shell_print(sh, "saved baseline cleared; reset the board to "
				    "restart the sensor's learning");
		} else {
			shell_error(sh, "clear failed: %d", ret);
		}
	} else if (argc > 1) {
		shell_error(sh, "usage: sgp30 baseline [save|clear]");
		ret = -EINVAL;
	}

	struct baseline cur;

	if (read_current(&cur) == 0) {
		shell_print(sh, "current: eCO2 0x%04x TVOC 0x%04x", cur.eco2, cur.tvoc);
	} else {
		shell_print(sh, "current: not read yet (first read ~1 min after boot)");
	}
	if (have_saved) {
		shell_print(sh, "saved:   eCO2 0x%04x TVOC 0x%04x%s", saved.eco2, saved.tvoc,
			    restore_decided ? "" : " (restore pending)");
		if (saved.saved_at != 0 && timesync_valid()) {
			shell_print(sh, "         %lld h old",
				    ((int64_t)timesync_now() - saved.saved_at) / 3600);
		}
	} else {
		shell_print(sh, "saved:   none");
	}
	shell_print(sh, "next save in %lld min", (next_save_ms - k_uptime_get()) / 60000);

	k_mutex_unlock(&lock);
	return ret;
}

SHELL_STATIC_SUBCMD_SET_CREATE(sgp30_cmds,
	SHELL_CMD_ARG(baseline, NULL, "Show, save or clear the IAQ baseline", cmd_baseline, 1, 1),
	SHELL_SUBCMD_SET_END);
SHELL_CMD_REGISTER(sgp30, &sgp30_cmds, "SGP30 commands", NULL);
```
